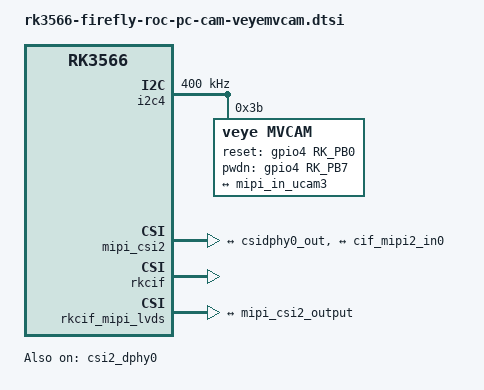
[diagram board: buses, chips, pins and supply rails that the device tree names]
// SPDX-License-Identifier: (GPL-2.0+ OR MIT)
/*
 * Copyright (c) 2022 www.veye.cc
 *
 */

&csi2_dphy0 {
	status = "okay";

	ports {
		#address-cells = <1>;
		#size-cells = <0>;
		port@0 {
			reg = <0>;
			#address-cells = <1>;
			#size-cells = <0>;

			mipi_in_ucam3: endpoint@4 {
				reg = <4>;
				remote-endpoint = <&mvcam_out>;
				data-lanes = <1 2>;
			};
		};
		port@1 {
			reg = <1>;
			#address-cells = <1>;
			#size-cells = <0>;

			csidphy0_out: endpoint@0 {
				reg = <0>;
				remote-endpoint = <&mipi_csi2_input>;
			};
		};
	};
};

&csi2_dphy1 {
	status = "disabled";
};

&csi2_dphy2 {
	status = "disabled";
};


&i2c4 {
	status = "okay";
	clock-frequency = <400000>;

	mvcam: mvcam@3b{
        status = "okay";
        compatible = "veye,mvcam";
        reg = <0x3b>;
        clocks = <&cru CLK_CIF_OUT>;
        clock-names = "xvclk";
        //avdd-supply = <&vcc_mipi>;
        power-domains = <&power RK3568_PD_VI>;
        pinctrl-names = "default";
        pinctrl-0 = <&cif_clk>;

        //power-gpios = <&pca9555 PCA_IO0_4 GPIO_ACTIVE_HIGH>;
        reset-gpios = <&gpio4 RK_PB0 GPIO_ACTIVE_HIGH>;
        pwdn-gpios = <&gpio4 RK_PB7 GPIO_ACTIVE_HIGH>;

        firefly,clkout-enabled-index = <0>;
        rockchip,camera-module-index = <0>;
        rockchip,camera-module-facing = "back";
        rockchip,camera-module-name = "NC";
        rockchip,camera-module-lens-name = "NC";
        port {
			mvcam_out: endpoint {
				remote-endpoint = <&mipi_in_ucam3>;
                data-lanes = <1 2>;
            };
        };
    };
};

&mipi_csi2 {
	status = "okay";

	ports {
		#address-cells = <1>;
		#size-cells = <0>;

		port@0 {
			reg = <0>;
			#address-cells = <1>;
			#size-cells = <0>;

			mipi_csi2_input: endpoint@1 {
				reg = <1>;
				remote-endpoint = <&csidphy0_out>;
			};
		};

		port@1 {
			reg = <1>;
			#address-cells = <1>;
			#size-cells = <0>;

			mipi_csi2_output: endpoint@0 {
				reg = <0>;
				remote-endpoint = <&cif_mipi2_in0>;
			};
		};
	};
};

&rkcif {
	status = "okay";
//	memory-region = <&cif_reserved>;
};
&rkcif_mipi_lvds {
	status = "okay";

	port {
		cif_mipi2_in0: endpoint {
			remote-endpoint = <&mipi_csi2_output>;
		};
	};
};
&rkcif_mipi_lvds_sditf {
	status = "disabled";

};
&rkcif_mmu {
	status = "okay";
};
&rkisp {
	status = "disabled";
};

&rkisp_vir0 {
	status = "disabled";
};

&rkisp_vir1 {
	status = "disabled";
};
